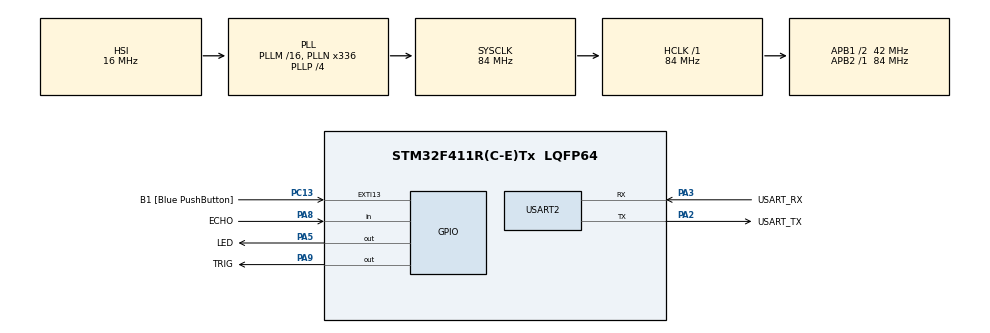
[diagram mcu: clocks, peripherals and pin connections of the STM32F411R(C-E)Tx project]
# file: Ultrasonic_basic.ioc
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Mcu.Family=STM32F4
Mcu.Name=STM32F411R(C-E)Tx
Mcu.Package=LQFP64
NVIC.PriorityGroup=NVIC_PRIORITYGROUP_4
PA13.GPIO_Label=TMS
PA13.Signal=SYS_JTMS-SWDIO
PA14.GPIO_Label=TCK
PA14.Signal=SYS_JTCK-SWCLK
PA2.GPIO_Label=USART_TX
PA2.Mode=Asynchronous
PA2.Signal=USART2_TX
PA3.GPIO_Label=USART_RX
PA3.Mode=Asynchronous
PA3.Signal=USART2_RX
PA5.GPIO_Label=LED
PA5.Signal=GPIO_Output
PA8.GPIO_Label=ECHO
PA8.Signal=GPIO_Input
PA9.GPIO_Label=TRIG
PA9.Signal=GPIO_Output
PB3.GPIO_Label=SWO
PB3.Signal=SYS_JTDO-SWO
PC13-ANTI_TAMP.GPIO_Label=B1 [Blue PushButton]
PC13-ANTI_TAMP.GPIO_ModeDefaultEXTI=GPIO_MODE_IT_FALLING
PC13-ANTI_TAMP.Signal=GPXTI13
PC14-OSC32_IN.Signal=RCC_OSC32_IN
PC15-OSC32_OUT.Signal=RCC_OSC32_OUT
PH0\ -\ OSC_IN.Signal=RCC_OSC_IN
PH1\ -\ OSC_OUT.Signal=RCC_OSC_OUT
ProjectManager.HeapSize=0x200
ProjectManager.StackSize=0x400
ProjectManager.TargetToolchain=SW4STM32
RCC.48MHZClocksFreq_Value=84000000
RCC.AHBFreq_Value=84000000
RCC.APB1CLKDivider=RCC_HCLK_DIV2
RCC.APB1Freq_Value=42000000
RCC.APB1TimFreq_Value=84000000
RCC.APB2Freq_Value=84000000
RCC.APB2TimFreq_Value=84000000
RCC.CortexFreq_Value=84000000
RCC.FLatency-AdvancedSettings=FLASH_LATENCY_2
RCC.HCLKFreq_Value=84000000
RCC.HSE_VALUE=8000000
RCC.HSI_VALUE=16000000
RCC.LSE_VALUE=32768
RCC.PLLN=336
RCC.PLLP=RCC_PLLP_DIV4
RCC.SYSCLKFreq_VALUE=84000000
RCC.SYSCLKSource=RCC_SYSCLKSOURCE_PLLCLK
RCC.VCOOutputFreq_Value=336000000
TIM4.Prescaler=84-1
USART2.VirtualMode=VM_ASYNC
VP_TIM4_VS_ClockSourceINT.Mode=Internal
board=NUCLEO-F411RE

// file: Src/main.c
/* USER CODE BEGIN Header */
/**
  ******************************************************************************
  * @file           : main.c
  * @brief          : Main program body
  ******************************************************************************
  * @attention
  *
  * Youtube Tutorial: https://youtu.be/koXHl_-PFqM
  *
  ******************************************************************************
  */
/* USER CODE END Header */

#include "main.h"

/* USER CODE BEGIN Includes */
#include <string.h>
#include <stdio.h>
/* USER CODE END Includes */

TIM_HandleTypeDef htim4;

UART_HandleTypeDef huart2;

void SystemClock_Config(void);
static void MX_GPIO_Init(void);
static void MX_TIM4_Init(void);
static void MX_USART2_UART_Init(void);

/* USER CODE BEGIN 0 */
char uartBuffer[100];

float get_distance(void);
void timer4_delay(uint32_t us);
/* USER CODE END 0 */

int main(void)
{

  /* MCU Configuration--------------------------------------------------------*/

  /* Reset of all peripherals, Initializes the Flash interface and the Systick. */
  HAL_Init();

  /* Configure the system clock */
  SystemClock_Config();

  /* Initialize all configured peripherals */
  MX_GPIO_Init();
  MX_TIM4_Init();
  MX_USART2_UART_Init();
  /* USER CODE BEGIN 2 */
  sprintf(uartBuffer, "\r\nHCHR04 distance measurement.\r\n");
  HAL_UART_Transmit(&huart2, (uint8_t *)uartBuffer, strlen(uartBuffer), 100);
  /* USER CODE END 2 */

  /* Infinite loop */
  while (1)
  {

    /* USER CODE BEGIN 3 */
	float distance = get_distance();

	// 6. Print UART
	sprintf(uartBuffer, "Distance : %.1f (cm)\r\n", distance);
	HAL_UART_Transmit(&huart2, (uint8_t *)uartBuffer, strlen(uartBuffer), 100);

	// Toggle LED
	HAL_GPIO_TogglePin(LED_GPIO_Port, LED_Pin);
	HAL_Delay(500);
  }
  /* USER CODE END 3 */
}

void SystemClock_Config(void)
{
  RCC_OscInitTypeDef RCC_OscInitStruct = {0};
  RCC_ClkInitTypeDef RCC_ClkInitStruct = {0};

  /** Configure the main internal regulator output voltage
  */
  __HAL_RCC_PWR_CLK_ENABLE();
  __HAL_PWR_VOLTAGESCALING_CONFIG(PWR_REGULATOR_VOLTAGE_SCALE1);
  /** Initializes the CPU, AHB and APB busses clocks
  */
  RCC_OscInitStruct.OscillatorType = RCC_OSCILLATORTYPE_HSI;
  RCC_OscInitStruct.HSIState = RCC_HSI_ON;
  RCC_OscInitStruct.HSICalibrationValue = RCC_HSICALIBRATION_DEFAULT;
  RCC_OscInitStruct.PLL.PLLState = RCC_PLL_ON;
  RCC_OscInitStruct.PLL.PLLSource = RCC_PLLSOURCE_HSI;
  RCC_OscInitStruct.PLL.PLLM = 16;
  RCC_OscInitStruct.PLL.PLLN = 336;
  RCC_OscInitStruct.PLL.PLLP = RCC_PLLP_DIV4;
  RCC_OscInitStruct.PLL.PLLQ = 4;
  if (HAL_RCC_OscConfig(&RCC_OscInitStruct) != HAL_OK)
  {
    Error_Handler();
  }
  /** Initializes the CPU, AHB and APB busses clocks
  */
  RCC_ClkInitStruct.ClockType = RCC_CLOCKTYPE_HCLK|RCC_CLOCKTYPE_SYSCLK
                              |RCC_CLOCKTYPE_PCLK1|RCC_CLOCKTYPE_PCLK2;
  RCC_ClkInitStruct.SYSCLKSource = RCC_SYSCLKSOURCE_PLLCLK;
  RCC_ClkInitStruct.AHBCLKDivider = RCC_SYSCLK_DIV1;
  RCC_ClkInitStruct.APB1CLKDivider = RCC_HCLK_DIV2;
  RCC_ClkInitStruct.APB2CLKDivider = RCC_HCLK_DIV1;

  if (HAL_RCC_ClockConfig(&RCC_ClkInitStruct, FLASH_LATENCY_2) != HAL_OK)
  {
    Error_Handler();
  }
}

static void MX_TIM4_Init(void)
{

  TIM_ClockConfigTypeDef sClockSourceConfig = {0};
  TIM_MasterConfigTypeDef sMasterConfig = {0};

  htim4.Instance = TIM4;
  htim4.Init.Prescaler = 84-1;
  htim4.Init.CounterMode = TIM_COUNTERMODE_UP;
  htim4.Init.Period = 0;
  htim4.Init.ClockDivision = TIM_CLOCKDIVISION_DIV1;
  htim4.Init.AutoReloadPreload = TIM_AUTORELOAD_PRELOAD_DISABLE;
  if (HAL_TIM_Base_Init(&htim4) != HAL_OK)
  {
    Error_Handler();
  }
  sClockSourceConfig.ClockSource = TIM_CLOCKSOURCE_INTERNAL;
  if (HAL_TIM_ConfigClockSource(&htim4, &sClockSourceConfig) != HAL_OK)
  {
    Error_Handler();
  }
  sMasterConfig.MasterOutputTrigger = TIM_TRGO_RESET;
  sMasterConfig.MasterSlaveMode = TIM_MASTERSLAVEMODE_DISABLE;
  if (HAL_TIMEx_MasterConfigSynchronization(&htim4, &sMasterConfig) != HAL_OK)
  {
    Error_Handler();
  }

}

static void MX_USART2_UART_Init(void)
{

  huart2.Instance = USART2;
  huart2.Init.BaudRate = 115200;
  huart2.Init.WordLength = UART_WORDLENGTH_8B;
  huart2.Init.StopBits = UART_STOPBITS_1;
  huart2.Init.Parity = UART_PARITY_NONE;
  huart2.Init.Mode = UART_MODE_TX_RX;
  huart2.Init.HwFlowCtl = UART_HWCONTROL_NONE;
  huart2.Init.OverSampling = UART_OVERSAMPLING_16;
  if (HAL_UART_Init(&huart2) != HAL_OK)
  {
    Error_Handler();
  }

}

static void MX_GPIO_Init(void)
{
  GPIO_InitTypeDef GPIO_InitStruct = {0};

  /* GPIO Ports Clock Enable */
  __HAL_RCC_GPIOC_CLK_ENABLE();
  __HAL_RCC_GPIOH_CLK_ENABLE();
  __HAL_RCC_GPIOA_CLK_ENABLE();
  __HAL_RCC_GPIOB_CLK_ENABLE();

  /*Configure GPIO pin Output Level */
  HAL_GPIO_WritePin(GPIOA, LED_Pin|TRIG_Pin, GPIO_PIN_RESET);

  /*Configure GPIO pin : B1_Pin */
  GPIO_InitStruct.Pin = B1_Pin;
  GPIO_InitStruct.Mode = GPIO_MODE_IT_FALLING;
  GPIO_InitStruct.Pull = GPIO_NOPULL;
  HAL_GPIO_Init(B1_GPIO_Port, &GPIO_InitStruct);

  /*Configure GPIO pins : LED_Pin TRIG_Pin */
  GPIO_InitStruct.Pin = LED_Pin|TRIG_Pin;
  GPIO_InitStruct.Mode = GPIO_MODE_OUTPUT_PP;
  GPIO_InitStruct.Pull = GPIO_NOPULL;
  GPIO_InitStruct.Speed = GPIO_SPEED_FREQ_LOW;
  HAL_GPIO_Init(GPIOA, &GPIO_InitStruct);

  /*Configure GPIO pin : ECHO_Pin */
  GPIO_InitStruct.Pin = ECHO_Pin;
  GPIO_InitStruct.Mode = GPIO_MODE_INPUT;
  GPIO_InitStruct.Pull = GPIO_NOPULL;
  HAL_GPIO_Init(ECHO_GPIO_Port, &GPIO_InitStruct);

}

/* USER CODE BEGIN 4 */
float get_distance(void) {

	const float speedOfSound = 0.0343/2;

	// 1. Set TRIG to low for few second
	HAL_GPIO_WritePin(TRIG_GPIO_Port, TRIG_Pin, GPIO_PIN_RESET);
	timer4_delay(3); //
	// 2. Start ultrasonic measure routine
	HAL_GPIO_WritePin(TRIG_GPIO_Port, TRIG_Pin, GPIO_PIN_SET);
	timer4_delay(10);
	HAL_GPIO_WritePin(TRIG_GPIO_Port, TRIG_Pin, GPIO_PIN_RESET);
	// 3. Wait for ECHO pin rising edge
	while(!HAL_GPIO_ReadPin(ECHO_GPIO_Port, ECHO_Pin));

	// 4. Measuring ECHO pulse width in usec
	uint32_t numTicks = 0;
	while(HAL_GPIO_ReadPin(ECHO_GPIO_Port, ECHO_Pin) == GPIO_PIN_SET) {
		numTicks++;
		timer4_delay(2); // Actually 2.8 usec
	}

	// 5. Estimate the distance in cm
	return (numTicks + 0.0f) * 2.8 /* delay time */ * speedOfSound;

}

void timer4_delay(uint32_t us) {
	if(us < 2) us = 2;
	TIM4->ARR = us - 1; // set this value in the auto-reload register
	TIM4->EGR = 1;      // Re-initialize the timer
	TIM4->SR &= ~1;     // Reset the flag
	TIM4->CR1 |= 1;     // Enable the counter
	while((TIM4->SR & 0x0001) != 1);
	TIM4->SR &= ~(0x0001);
}
/* USER CODE END 4 */

void Error_Handler(void)
{
}

/************************ (C) COPYRIGHT STMicroelectronics *****END OF FILE****/
